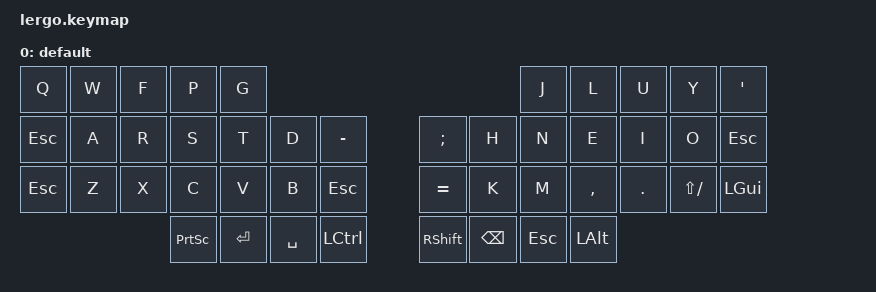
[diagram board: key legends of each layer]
/*
 * Copyright (c) 2020 The ZMK Contributors
 *
 * SPDX-License-Identifier: MIT
 */

#include <behaviors.dtsi>
#include <dt-bindings/zmk/keys.h>
//#include <dt-bindings/zmk/bt.h>


/ {
        keymap {
                compatible = "zmk,keymap";

                default {

//               KC_Q,    KC_W,     KC_F,    KC_P,    KC_G,                            KC_J, KC_L,    KC_U,    KC_Y,     KC_QUOT,
//    TT(2),     KC_A,    KC_R,     KC_S,    KC_T,    KC_D, KC_MINUS,         KC_SCLN, KC_H, KC_N,    KC_E,    KC_I,        KC_O, MO(3),
//    MO(4),     KC_Z,    KC_X,     KC_C,    KC_V,    KC_B, KC_ESC,         KC_EQL, KC_K, KC_M, KC_COMM, KC_DOT,LSFT(KC_SLSH), KC_LGUI,
//    KC_PSCR,  KC_ENT,  KC_SPC,    KC_LCTL,       KC_LSFT,  KC_BSPC,  MO(5),KC_LALT 

                        bindings = <

                  &kp Q &kp W &kp F &kp P &kp G                                  &kp J   &kp L   &kp U     &kp Y    &kp SQT
     &kp ESC     &kp A &kp R &kp S &kp T &kp D &kp MINUS            &kp SEMI    &kp H   &kp N   &kp E     &kp I    &kp O        &kp ESC
     &kp ESC  &kp Z &kp X &kp C &kp V &kp B &kp ESC              &kp EQUAL   &kp K   &kp M   &kp COMMA &kp DOT  &kp LS(FSLH) &kp LGUI
                  &kp PSCRN    &kp RET   &kp SPACE  &kp LCTRL  &kp RSHFT  &kp BSPC  &kp ESC   &kp LALT

                        >;

                };
        };
};
